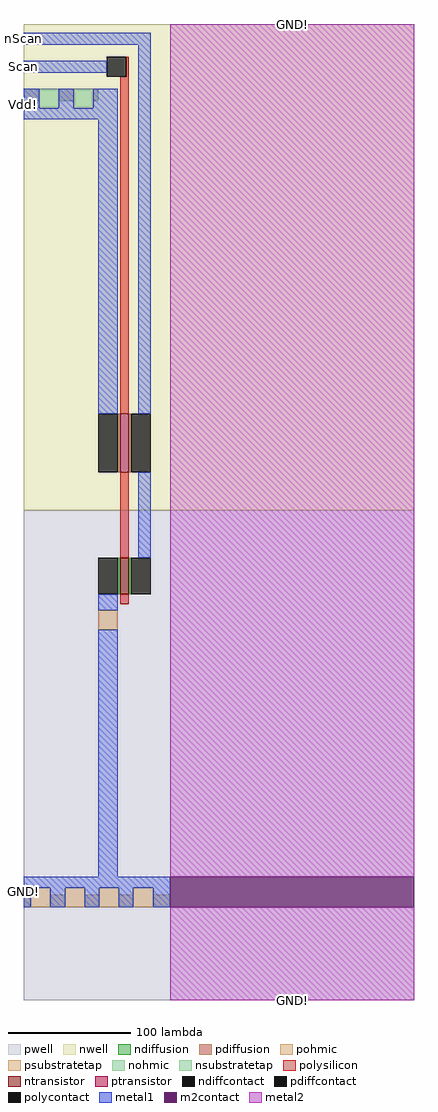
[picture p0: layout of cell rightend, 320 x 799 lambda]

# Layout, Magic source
magic
tech c035u
<< nwell >>
rect 0 401 320 799
<< pwell >>
rect 0 0 320 401
<< polysilicon >>
rect 84 756 86 772
rect 79 480 86 756
rect 79 362 86 432
rect 79 324 86 332
<< ndiffusion >>
rect 77 332 79 362
rect 86 332 88 362
<< pdiffusion >>
rect 77 432 79 480
rect 86 432 88 480
<< pohmic >>
rect 0 76 6 86
rect 22 76 34 86
rect 50 76 62 86
rect 78 76 90 86
rect 106 76 120 86
<< nohmic >>
rect 0 736 13 746
rect 29 736 41 746
rect 57 736 61 746
<< ntransistor >>
rect 79 332 86 362
<< ptransistor >>
rect 79 432 86 480
<< polycontact >>
rect 68 756 84 772
<< ndiffcontact >>
rect 61 332 77 362
rect 88 332 104 362
<< pdiffcontact >>
rect 61 432 77 480
rect 88 432 104 480
<< psubstratetap >>
rect 61 303 77 319
rect 6 76 22 92
rect 34 76 50 92
rect 62 76 78 92
rect 90 76 106 92
<< nsubstratetap >>
rect 13 730 29 746
rect 41 730 57 746
<< metal1 >>
rect 0 782 104 792
rect 0 759 68 769
rect 0 730 13 746
rect 29 730 41 746
rect 57 730 77 746
rect 0 721 77 730
rect 61 480 77 721
rect 94 480 104 782
rect 94 362 104 432
rect 61 319 77 332
rect 61 101 77 303
rect 0 92 120 101
rect 0 76 6 92
rect 22 76 34 92
rect 50 76 62 92
rect 78 76 90 92
rect 106 76 120 92
<< m2contact >>
rect 120 76 320 101
<< metal2 >>
rect 120 101 320 799
rect 120 0 320 76
<< labels >>
rlabel metal2 120 799 320 799 5 GND!
rlabel metal2 120 0 320 0 1 GND!
rlabel metal1 0 759 0 769 7 Scan
rlabel metal1 0 721 0 746 3 Vdd!
rlabel metal1 0 782 0 792 3 nScan
rlabel metal1 0 76 0 101 7 GND!
<< end >>
